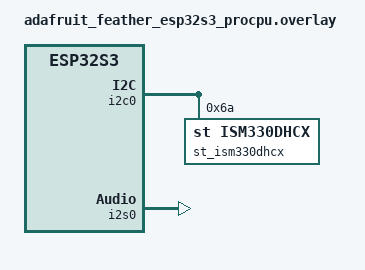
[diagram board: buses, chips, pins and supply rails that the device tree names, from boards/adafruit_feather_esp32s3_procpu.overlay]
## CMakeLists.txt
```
# SPDX-License-Identifier: Apache-2.0

cmake_minimum_required(VERSION 3.20.0)

find_package(Zephyr REQUIRED HINTS $ENV{ZEPHYR_BASE})
project(hello_world)

FILE(GLOB app_sources src/*.c)
target_sources(app PRIVATE ${app_sources})
```

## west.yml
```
manifest:
  self:
    west-commands: scripts/west-commands.yml

  remotes:
    - name: zephyrproject-rtos
      url-base: https://github.com/zephyrproject-rtos

  projects:
    - name: zephyr
      remote: zephyrproject-rtos
      revision: v4.3.0
      import:
        # By using name-allowlist we can clone only the modules that are
        # strictly needed by the application.
        name-allowlist:
          - cmsis
          - cmsis_6      # required by the ARM port
          - hal_nordic # required by the board (Nordic based)\
          - hal_atmel
          - hal_espressif
          - hal_st       # required by ST IMU sensor drivers
          - mcuboot
```

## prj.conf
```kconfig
# CONFIG_USB_DEVICE_STACK_NEXT=y

# CONFIG_STDOUT_CONSOLE=y
# CONFIG_SERIAL=y
# CONFIG_UART_LINE_CTRL=y
# CONFIG_USBD_CDC_ACM_CLASS=y
# CONFIG_CDC_ACM_SERIAL_INITIALIZE_AT_BOOT=n

# CONFIG_SAMPLE_USBD_PID=0x0001
# CONFIG_SAMPLE_USBD_PRODUCT="USBD CDC ACM sample"

CONFIG_LOG=y
# CONFIG_LOG_MODE_DEFERRED=n
CONFIG_LOG_MODE_IMMEDIATE=y
CONFIG_LOG_RUNTIME_FILTERING=y
CONFIG_LOG_BUFFER_SIZE=4096
CONFIG_LOG_PRINTK=y
CONFIG_LOG_PROCESS_TRIGGER_THRESHOLD=0
CONFIG_COVERAGE=n
CONFIG_LOG_TAG_MAX_LEN=8
CONFIG_CBPRINTF_FP_SUPPORT=y
CONFIG_NEWLIB_LIBC_FLOAT_PRINTF=y

CONFIG_POWER_DOMAIN=y
CONFIG_GPIO=y
CONFIG_PM_DEVICE=y
CONFIG_PM_DEVICE_POWER_DOMAIN=y

CONFIG_INPUT=y
CONFIG_LED_STRIP=y
# CONFIG_LED_STRIP_LOG_LEVEL_DBG=y

CONFIG_I2S=y
# CONFIG_I2S_LOG_LEVEL_DBG=y

CONFIG_TIMING_FUNCTIONS=y

CONFIG_FUEL_GAUGE=y
CONFIG_I2C=y

CONFIG_SENSOR=y
CONFIG_ISM330DHCX=y

# CONFIG_DEBUG_OPTIMIZATIONS=y

# CONFIG_HEAP_MEM_POOL_SIZE=256

# CONFIG_UART_ASYNC_API=y
# CONFIG_UART_0_ASYNC=y
# CONFIG_LOG_BACKEND_UART_ASYNC=y
```

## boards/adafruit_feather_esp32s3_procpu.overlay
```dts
#include <zephyr/dt-bindings/sensor/ism330dhcx.h>

&i2c0 {
    status = "okay";

    st_ism330dhcx: ism330dhcx@6a {
        compatible = "st,ism330dhcx";
        reg = <0x6a>;
        accel-range = <4>;       /* ±4g full scale */
        accel-odr = <ISM330DHCX_DT_ODR_104Hz>;       /* 104 Hz output data rate */
        gyro-range = <2000>;     /* ±2000 dps */
        gyro-odr = <ISM330DHCX_DT_ODR_104Hz>;   /* 104 Hz output data rate */
    };
};


&pinctrl {
	i2s0_default: i2s0_default {
		group1 {
			pinmux = <I2S0_O_WS_GPIO16>, 	// feather pin A2
				<I2S0_O_BCK_GPIO17>,		// feather pin A1
				//  <I2S0_O_SD_GPIO38>,
				<I2S0_I_SD_GPIO18>;			// feather pin A0
			input-enable;
		};
	};
};

&i2s0 {
	pinctrl-0 = <&i2s0_default>;
	pinctrl-names = "default";
};

i2s_rx: &i2s0 {
	status = "okay";

	dmas = <&dma 2>;
	dma-names = "rx";
};

&dma {
	status = "okay";
};
```

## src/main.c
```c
#include <errno.h>
#include <string.h>

#include <zephyr/logging/log.h>
#include <zephyr/kernel.h>
#include <zephyr/drivers/led_strip.h>
#include <zephyr/drivers/gpio.h>
#include <zephyr/device.h>
#include <zephyr/sys/util.h>
#include <zephyr/drivers/fuel_gauge.h>
#include <inttypes.h>

#include "i2s_mic.h"
#include "imu_manager.h"

/* size of stack area used by each thread */
#define STACKSIZE 1024

/* scheduling priority used by each thread */
#define PRIORITY 7

#define STRIP_NODE		DT_ALIAS(led_strip)
#define BUTTON_NODE		DT_ALIAS(sw0)

#if DT_NODE_HAS_PROP(DT_ALIAS(led_strip), chain_length)
#define STRIP_NUM_PIXELS	DT_PROP(DT_ALIAS(led_strip), chain_length)
#else
#error Unable to determine length of LED strip
#endif

#define DELAY_TIME K_MSEC(500)

#define RGB(_r, _g, _b) { .r = (_r), .g = (_g), .b = (_b) }

static struct led_rgb pixels[STRIP_NUM_PIXELS];

static const struct device *const strip = DEVICE_DT_GET(STRIP_NODE);
static const struct gpio_dt_spec button = GPIO_DT_SPEC_GET(BUTTON_NODE, gpios);
static struct gpio_callback button_cb_data;

LOG_MODULE_REGISTER(main);

K_MSGQ_DEFINE(btn_press_msgq, sizeof(uint32_t), 10, 1);
K_MSGQ_DEFINE(beat_msgq, sizeof(struct beat_msg), 10, 1);

static void button_input_cb(const struct device *dev, struct gpio_callback *cb, uint32_t pins)
{
	k_msgq_put(&beat_msgq, &(struct beat_msg){.energy = 1.0}, K_NO_WAIT);
}

int main(void)
{
	int ret;

	LOG_INF("Starting music wand firmware");

	if (!gpio_is_ready_dt(&button)) {
		LOG_ERR("Error: button device %s is not ready\n",
		       button.port->name);
		return 0;
	}

	ret = gpio_pin_configure_dt(&button, GPIO_INPUT);
	if (ret != 0) {
		LOG_ERR("Error %d: failed to configure %s pin %d\n",
		       ret, button.port->name, button.pin);
		return 0;
	}

	ret = gpio_pin_interrupt_configure_dt(&button,
					      GPIO_INT_EDGE_TO_ACTIVE);
	if (ret != 0) {
		LOG_ERR("Error %d: failed to configure interrupt on %s pin %d\n",
			ret, button.port->name, button.pin);
		return 0;
	}

	gpio_init_callback(&button_cb_data, button_input_cb, BIT(button.pin));
	gpio_add_callback(button.port, &button_cb_data);
	LOG_INF("Set up button at %s pin %d\n", button.port->name, button.pin);

	enum states {
		STATE_SLEEP,
		STATE_MUSIC,
		STATE_FLICK,
		NUM_STATES
	} state = STATE_SLEEP;
	enum states prev_state = NUM_STATES;

	uint32_t btn_press;

	while (1) {
		while(k_msgq_get(&btn_press_msgq, &btn_press, K_MSEC(100)) == 0) {
			state++;
			if(state >= NUM_STATES) {
				state = 0;
			}
		}
		switch(state) {
			case STATE_SLEEP:
				/* Handle sleep state */
				break;
			case STATE_MUSIC:
				/* Handle music state */
				if(state != prev_state) {
					// first state entry, suspend mic thread
				}
				break;
			case STATE_FLICK:
				/* Handle flick state */
				if(state != prev_state) {
					// first state entry, suspend mic thread
				}
				break;
			default:
				LOG_ERR("Invalid state: %d", state);
				state = STATE_SLEEP;
				break;
		}
		if(state != prev_state) {
			LOG_INF("State changed to %d", state);
			prev_state = state;
		}
	}
}

static void hsv2rgb(uint16_t hue, uint8_t saturation, uint8_t value, struct led_rgb *rgb)
{
	uint8_t r, g, b;
	uint8_t region;
	uint16_t remainder;
	uint16_t p, q, t;
	uint16_t v = value;
	uint16_t s = saturation;

	if (hue >= 360U) {
		hue %= 360U;
	}

	if (s == 0U) {
		/* Achromatic (grey) */
		r = g = b = (uint8_t)v;
		rgb->r = r;
		rgb->g = g;
		rgb->b = b;
		return;
	}

	region = hue / 60U;
	remainder = (hue % 60U) * 255U / 60U;

	p = (v * (255U - s)) / 255U;
	q = (v * (255U - ((s * remainder) / 255U))) / 255U;
	t = (v * (255U - ((s * (255U - remainder)) / 255U))) / 255U;

	switch (region) {
	case 0:
		r = (uint8_t)v;
		g = (uint8_t)t;
		b = (uint8_t)p;
		break;
	case 1:
		r = (uint8_t)q;
		g = (uint8_t)v;
		b = (uint8_t)p;
		break;
	case 2:
		r = (uint8_t)p;
		g = (uint8_t)v;
		b = (uint8_t)t;
		break;
	case 3:
		r = (uint8_t)p;
		g = (uint8_t)q;
		b = (uint8_t)v;
		break;
	case 4:
		r = (uint8_t)t;
		g = (uint8_t)p;
		b = (uint8_t)v;
		break;
	case 5:
	default:
		r = (uint8_t)v;
		g = (uint8_t)p;
		b = (uint8_t)q;
		break;
	}
	rgb->r = r;
	rgb->g = g;
	rgb->b = b;
}

static void led_thread(void)
{
	int rc;
	const uint8_t attack = 0xf0;
	uint8_t release = 0x0a;
	uint8_t release_rate = 7;
	uint8_t brightness = 0;
	uint16_t hue = 0;

	static struct led_rgb color = {
		.r = 0,
		.g = 0,
		.b = 0,
	};

	if (device_is_ready(strip)) {
		LOG_INF("Found LED strip device %s", strip->name);
	} else {
		LOG_ERR("LED strip device %s is not ready", strip->name);
		return;
	}

	k_msleep(1000); /* Wait for other threads to initialize */

	LOG_INF("Displaying pattern on strip");
	for(;;) {
		struct beat_msg msg;
		while(k_msgq_get(&beat_msgq, &msg, K_NO_WAIT) == 0) {
			/* when a beat occurs, slam the brightness up */
			LOG_INF("Received beat message with energy: %.6f", (double)msg.energy);
			// brightness = (uint8_t)(msg.energy * attack);
			brightness = attack;
		}
		hue = (hue + 1) % 360;
		hsv2rgb(hue, 0xff, brightness, &color);
		// write the color to the LED strip
		for (size_t cursor = 0; cursor < ARRAY_SIZE(pixels); cursor++) {
			memset(&pixels, 0x00, sizeof(pixels));
			memcpy(&pixels[cursor], &color, sizeof(struct led_rgb));

			rc = led_strip_update_rgb(strip, pixels, STRIP_NUM_PIXELS);
			if (rc) {
				LOG_ERR("couldn't update strip: %d", rc);
			}
		}

		// release the brightness
		release = brightness / release_rate;
		if (release == 0) {
			release = 1;
		}
		if (brightness < release) {
			brightness = 0;
		} else {
			brightness -= release;
		}
		k_msleep(25);
	}
}

static void fuel_gauge_thread(void)
{
	const struct device *const fuel_gauge_dev = DEVICE_DT_GET(DT_ALIAS(fuel_gauge0));

	if (fuel_gauge_dev == NULL) {
		LOG_ERR("no device found.");
		return;
	}

	if (!device_is_ready(fuel_gauge_dev)) {
		LOG_ERR("Error: Device \"%s\" is not ready", fuel_gauge_dev->name);
		return;
	}

	fuel_gauge_prop_t poll_props[] = {
			FUEL_GAUGE_RELATIVE_STATE_OF_CHARGE,
			FUEL_GAUGE_VOLTAGE,
		};

	union fuel_gauge_prop_val poll_vals[ARRAY_SIZE(poll_props)];

	while(1) {
		int ret = fuel_gauge_get_props(fuel_gauge_dev, poll_props, poll_vals, ARRAY_SIZE(poll_props));
		if (ret < 0) {
			LOG_ERR("Error: cannot get properties");
		} else {
			LOG_INF("Fuel gauge data: Charge: %d%%, Voltage: %dmV",
				poll_vals[0].relative_state_of_charge, poll_vals[1].voltage / 1000);
		}
		k_msleep(1000);
	}
}

K_THREAD_DEFINE(led_thread_id, STACKSIZE * 2, led_thread, NULL, NULL, NULL, PRIORITY, 0, 0);
// K_THREAD_DEFINE(i2s_mic_thread_id, STACKSIZE * 8, i2s_mic_thread, NULL, NULL, NULL, PRIORITY, 0, 0);
K_THREAD_DEFINE(fuel_gauge_thread_id, STACKSIZE * 2, fuel_gauge_thread, NULL, NULL, NULL, PRIORITY, 0, 0);
K_THREAD_DEFINE(imu_thread_id, IMU_STACK_SIZE, imu_thread, NULL, NULL, NULL, IMU_PRIORITY, 0, 0);
```

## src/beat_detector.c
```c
#include <string.h>
#include <stdlib.h>

#include <zephyr/kernel.h>

#include "beat_detector.h"

BeatDetector* beat_detector_create(void)
{
    BeatDetector* detector = (BeatDetector*)malloc(sizeof(BeatDetector));
    if (detector) {
        beat_detector_init(detector);
    }
    return detector;
}

void beat_detector_init(BeatDetector* detector)
{
    memset(detector->history, 0, sizeof(detector->history));
    detector->history_ptr = detector->history;
    detector->energy = 0.0f;
    detector->variance = 0.0f;
    detector->average_energy = 0.0f;
    detector->threshold = BASE_THRESHOLD; // Threshold multiplier for beat detection
}

void beat_detector_update(BeatDetector* detector, float* samples, int num_samples)
{
    // Calculate energy of the current frame
    float energy = 0.0f;
    for (size_t i = 0; i < num_samples; ++i) {
        energy += samples[i] * samples[i];
    }
    energy /= (float)num_samples;

    // Update history with the new energy value and check circular buffer
    *detector->history_ptr = energy;
    detector->history_ptr++;
    if (detector->history_ptr >= detector->history + BEAT_DETECTOR_HISTORY_SIZE) {
        detector->history_ptr = detector->history;
    }

    // Update average energy and variance
    float sum_energy = 0.0f;
    for (size_t i = 0; i < BEAT_DETECTOR_HISTORY_SIZE; ++i) {
        sum_energy += detector->history[i];
    }
    detector->average_energy = sum_energy / (float)BEAT_DETECTOR_HISTORY_SIZE;

    float variance_sum = 0.0f;
    for (size_t i = 0; i < BEAT_DETECTOR_HISTORY_SIZE; ++i) {
        variance_sum += (detector->history[i] - detector->average_energy) * (detector->history[i] - detector->average_energy);
    }
    detector->variance = variance_sum / (float)BEAT_DETECTOR_HISTORY_SIZE;

    // Update current energy
    detector->energy = energy;

    /* dynamically adjust the multiplier */
    /* threshold = base + scale * normalized‑variance; clamp to sane range */
    float norm_var = detector->variance / (detector->average_energy + 1e-6f);
    detector->threshold = BASE_THRESHOLD + VARIANCE_SCALE * norm_var;
    if (detector->threshold < 1.0f) {
        detector->threshold = 1.0f;
    }
    if (detector->threshold > 3.0f) {
        detector->threshold = 3.0f;
    }
}

int beat_detector_is_beat(BeatDetector* detector)
{
    // A beat is detected if the current energy is significantly higher than the average energy
    return (detector->energy > (detector->threshold * detector->average_energy));
}

void beat_detector_destroy(BeatDetector* detector)
{
    free(detector);
}
```

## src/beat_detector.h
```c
#ifndef _BEAT_DETECTOR_H_
#define _BEAT_DETECTOR_H_

#define BASE_THRESHOLD   1.0f   /* nominal multiplier */
#define VARIANCE_SCALE   2.0f   /* how strongly variance affects the threshold */
#define BEAT_DETECTOR_HISTORY_SIZE 43 /* 43 is the number of frames in 1 second at 1024 samples/frame and 44100 samples/second */

typedef struct {
    float history[BEAT_DETECTOR_HISTORY_SIZE];
    float *history_ptr;
    float energy;
    float variance;
    float average_energy;
    float threshold;
} BeatDetector;

BeatDetector * beat_detector_create(void);
void beat_detector_init(BeatDetector *detector);
void beat_detector_update(BeatDetector *detector, float* samples, int num_samples);
int beat_detector_is_beat(BeatDetector *detector);
void beat_detector_destroy(BeatDetector *detector);

#endif // _BEAT_DETECTOR_H_
```

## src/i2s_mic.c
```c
#include <errno.h>
#include <string.h>

#include <zephyr/logging/log.h>
#include <zephyr/kernel.h>
#include <zephyr/device.h>
#include <zephyr/sys/util.h>
#include <zephyr/drivers/i2s.h>

#include "i2s_mic.h"
#include "beat_detector.h"

#define SAMPLE_FREQUENCY    44100
#define SAMPLE_BIT_WIDTH    24
#define BYTES_PER_SAMPLE    sizeof(int32_t) /* 24-bit samples are stored in 32-bit integers */
#define NUMBER_OF_CHANNELS  2
#define SAMPLES_PER_BLOCK    1024

#define BLOCK_SIZE (SAMPLES_PER_BLOCK * NUMBER_OF_CHANNELS * BYTES_PER_SAMPLE)
#define INITIAL_BLOCKS 2
#define BLOCK_COUNT (INITIAL_BLOCKS + 2)
K_MEM_SLAB_DEFINE_STATIC(mem_slab, BLOCK_SIZE, BLOCK_COUNT, 4);

LOG_MODULE_REGISTER(i2s_mic);

#define I2S_RX_NODE  DT_NODELABEL(i2s_rx)

void i2s_mic_thread(void)
{
    int ret;

    const struct device *i2s_dev = DEVICE_DT_GET(I2S_RX_NODE);
    static BeatDetector *beat_detector = NULL;

    LOG_INF("Initializing I2S microphone...");

    if (!device_is_ready(i2s_dev)) {
		LOG_ERR("%s is not ready", i2s_dev->name);
		return;
	}

    const struct i2s_config i2s_cfg = {
        .word_size = SAMPLE_BIT_WIDTH,
        .channels = NUMBER_OF_CHANNELS,
        .format = I2S_FMT_DATA_FORMAT_I2S,
        .options = I2S_OPT_FRAME_CLK_MASTER | I2S_OPT_BIT_CLK_MASTER,
        .frame_clk_freq = SAMPLE_FREQUENCY,
        .block_size = BLOCK_SIZE,
        .timeout = 1000,
        .mem_slab = &mem_slab,
    };

    beat_detector = (BeatDetector *)k_malloc(sizeof(BeatDetector));
    if (beat_detector == NULL) {
        LOG_ERR("Failed to allocate memory for BeatDetector");
        return;
    }
    beat_detector_init(beat_detector);

    ret = i2s_configure(i2s_dev, I2S_DIR_RX, &i2s_cfg);
    if (ret < 0) {
        LOG_ERR("Failed to configure I2S RX stream: %d", ret);
        return;
    }

    ret = i2s_trigger(i2s_dev, I2S_DIR_RX, I2S_TRIGGER_START);
    if (ret < 0) {
        LOG_ERR("Failed to start I2S RX stream: %d", ret);
        return;
    }

    for(;;) {
        void *mem_block;
        uint32_t block_size;

        ret = i2s_read(i2s_dev, &mem_block, &block_size);
        if(ret == 0) {
            /* Process the audio data in mem_block of size block_size (should be SAMPLES_PER_BLOCK number of samples) */
            int32_t *samples = (int32_t *)mem_block;
            int num_samples = block_size / BYTES_PER_SAMPLE / NUMBER_OF_CHANNELS; /* Total samples in the block (for all channels) */
            if(num_samples != SAMPLES_PER_BLOCK) {
                LOG_WRN("Expected %d samples per block, but got %d", SAMPLES_PER_BLOCK, num_samples);
            }
            // printk("first samples: %d, %d\n", samples[0], samples[1]);

            /* Convert samples to float and normalize to [-1.0, 1.0] */
            float float_samples[SAMPLES_PER_BLOCK] = {0};
            for (int i = 0; i < num_samples; i++) { // for now we only process the first channel (left)
                float_samples[i] = (float)samples[i * NUMBER_OF_CHANNELS] / (float)(0x7fffffff); /* sph0645 reads 24 bit data MSB first */
            }

            beat_detector_update(beat_detector, float_samples, num_samples);
            // printk("Energy: %.6f, Threshold: %.6f\n", (double)beat_detector->energy, (double)beat_detector->threshold);
            if(beat_detector_is_beat(beat_detector)) {
                printk("Beat detected! Energy: %.6f, Threshold: %.6f\n", (double)beat_detector->energy, (double)beat_detector->threshold);
                struct beat_msg msg = {
                    .event_code = 1,  // e.g., 1 for beat
                    .energy = beat_detector->energy
                };
                k_msgq_put(&beat_msgq, &msg, K_NO_WAIT);
            }
            
            /* Free the memory block back to the slab */
            k_mem_slab_free(&mem_slab, mem_block);
        } else if (ret < 0) {
            LOG_ERR("Failed to read from I2S RX stream: %d", ret);
        }
    }
    k_free(beat_detector);
}
```

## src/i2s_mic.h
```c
#ifndef I2S_MIC_H
#define I2S_MIC_H

extern struct k_msgq beat_msgq;

struct beat_msg {
    uint32_t event_code;  // e.g., 1 for beat
    float energy;         // From beat_detector
};

void i2s_mic_thread(void);

#endif /* I2S_MIC_H */
```

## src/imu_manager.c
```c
#include <errno.h>
#include <string.h>

#include <zephyr/logging/log.h>
#include <zephyr/kernel.h>
#include <zephyr/device.h>
#include <zephyr/sys/util.h>

#include <zephyr/drivers/sensor.h>
#include "imu_manager.h"

#include <zephyr/kernel.h>
#include <zephyr/device.h>
#include <zephyr/drivers/sensor.h>
#include <zephyr/logging/log.h>

/* Register logging module */
LOG_MODULE_REGISTER(imu_thread, LOG_LEVEL_INF);

#define SAMPLING_PERIOD_MS 500

void imu_thread(void *p1, void *p2, void *p3)
{
    /* Fetch device from the devicetree label defined in the board overlay */
    const struct device *const imu_dev = DEVICE_DT_GET_ONE(st_ism330dhcx);

    if (imu_dev == NULL) {
        LOG_ERR("No st,ism330dhcx device found in devicetree!");
        return;
    }

    if (!device_is_ready(imu_dev)) {
        LOG_ERR("IMU device %s is not ready!", imu_dev->name);
        return;
    }

    LOG_INF("IMU device %s initialized successfully", imu_dev->name);

    struct sensor_value accel[3];
    struct sensor_value gyro[3];

    while (1) {
        /* Trigger a sensor sample fetch from the hardware */
        int rc = sensor_sample_fetch(imu_dev);
        if (rc < 0) {
            LOG_WRN("Failed to fetch sample from IMU (err: %d)", rc);
            k_msleep(SAMPLING_PERIOD_MS);
            continue;
        }

        /* Read the specific channels into Zephyr's standard struct */
        sensor_channel_get(imu_dev, SENSOR_CHAN_ACCEL_XYZ, accel);
        sensor_channel_get(imu_dev, SENSOR_CHAN_GYRO_XYZ, gyro);

        /* Log data using built-in float conversion helper */
        LOG_INF("Accel [m/s²]: X=%.2f, Y=%.2f, Z=%.2f",
                sensor_value_to_double(&accel[0]),
                sensor_value_to_double(&accel[1]),
                sensor_value_to_double(&accel[2]));

        LOG_INF("Gyro [rad/s]: X=%.2f, Y=%.2f, Z=%.2f",
                sensor_value_to_double(&gyro[0]),
                sensor_value_to_double(&gyro[1]),
                sensor_value_to_double(&gyro[2]));

        /* Yield the CPU until the next sampling period */
        k_msleep(SAMPLING_PERIOD_MS);
    }
}
```

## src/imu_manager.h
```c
#ifndef IMU_MANAGER_H
#define IMU_MANAGER_H

/* Thread configuration */
#define IMU_STACK_SIZE 2048
#define IMU_PRIORITY 7

/* Define and initialize the thread */
void imu_thread(void *p1, void *p2, void *p3);

#endif // IMU_MANAGER_H
```
